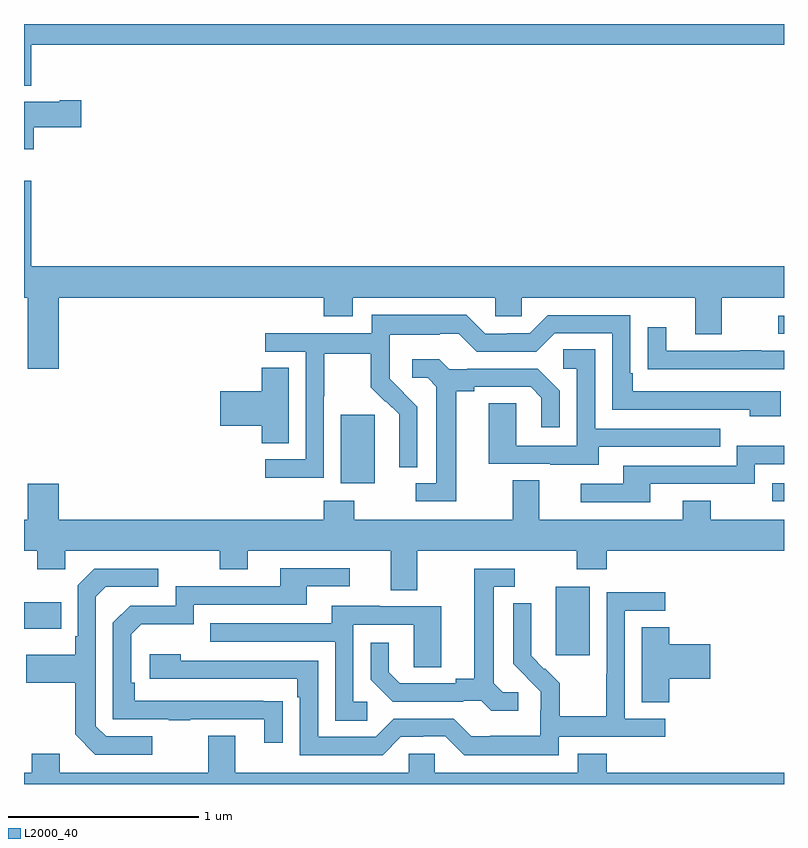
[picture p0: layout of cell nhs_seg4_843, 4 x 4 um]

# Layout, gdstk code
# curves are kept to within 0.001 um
import gdstk
lib = gdstk.Library(unit=1e-6, precision=1e-09)
def R(c, l, rs):  # rectangles x0, y0, x1, y1
    for r in rs: c.add(gdstk.rectangle(r[:2], r[2:], *l))
def P(c, l, *ps):  # polygons
    for p in ps: c.add(gdstk.Polygon(p, *l))
L2000_40 = (2000, 40)

nhs_seg4_843 = lib.new_cell('nhs_seg4_843')
R(nhs_seg4_843, L2000_40, [(155.798,821.577,155.977,821.938), (153,821.717,153.197,821.857), (156.939,822.387,157,822.483), (154.667,822.482,154.846,822.843), (156.969,823.269,157,823.365)])
P(nhs_seg4_843, L2000_40, [(153.037,824.792),(157,824.792),(157,824.9),(153,824.9),(153,824.576),(153.037,824.576)],
  [(153.052,824.357),(153.301,824.357),(153.301,824.499),(153.188,824.499),(153.188,824.491),(153,824.491),(153,824.24),(153.052,824.24)],
  [(153.184,823.46),(154.577,823.46),(154.577,823.361),(154.729,823.361),(154.729,823.46),(155.481,823.46),(155.481,823.362),(155.619,823.362),(155.619,823.46),(156.533,823.46),(156.533,823.266),(156.673,823.266),(156.673,823.46),(157,823.46),(157,823.624),(153.037,823.624),(153.037,824.074),(153,824.074),(153,823.46),(153.02,823.46),(153.02,823.086),(153.184,823.086)],
  [(154.578,822.94),(154.581,822.94),(154.581,823.164),(154.825,823.164),(154.825,822.989),(154.902,822.912),(154.905,822.915),(154.976,822.845),(154.976,822.722),(154.974,822.722),(154.974,822.568),(155.07,822.568),(155.07,822.886),(154.924,823.034),(154.924,823.131),(154.926,823.131),(154.926,823.265),(155.189,823.265),(155.189,823.269),(155.289,823.269),(155.382,823.176),(155.697,823.176),(155.793,823.272),(156.096,823.272),(156.096,822.87),(156.821,822.87),(156.821,822.836),(156.982,822.836),(156.982,822.966),(156.205,822.966),(156.205,823.063),(156.192,823.063),(156.192,823.368),(155.757,823.368),(155.661,823.272),(155.543,823.272),(155.543,823.269),(155.427,823.269),(155.327,823.369),(154.83,823.369),(154.83,823.272),(154.269,823.272),(154.269,823.176),(154.482,823.176),(154.482,822.609),(154.269,822.609),(154.269,822.511),(154.578,822.511)],
  [(157,823.179),(156.881,823.179),(156.881,823.184),(156.769,823.184),(156.769,823.179),(156.379,823.179),(156.379,823.303),(156.283,823.303),(156.283,823.084),(156.385,823.084),(156.385,823.083),(157,823.083)],
  [(156.025,822.675),(156.665,822.675),(156.665,822.771),(156.006,822.771),(156.006,823.187),(155.838,823.187),(155.838,823.086),(155.91,823.086),(155.91,822.681),(155.592,822.681),(155.592,822.905),(155.447,822.905),(155.447,822.585),(155.771,822.585),(155.771,822.581),(156.025,822.581)],
  [(155.275,822.968),(155.371,822.968),(155.371,822.99),(155.666,822.99),(155.723,822.933),(155.723,822.777),(155.82,822.777),(155.82,822.97),(155.704,823.086),(155.332,823.086),(155.332,823.083),(155.238,823.083),(155.186,823.135),(155.043,823.135),(155.043,823.038),(155.124,823.038),(155.171,822.991),(155.171,822.483),(155.061,822.483),(155.061,822.387),(155.275,822.387)],
  [(154.393,823.091),(154.25,823.091),(154.25,822.968),(154.032,822.968),(154.032,822.785),(154.25,822.785),(154.25,822.694),(154.393,822.694)],
  [(156.295,822.48),(156.846,822.48),(156.846,822.582),(157,822.582),(157,822.679),(156.75,822.679),(156.75,822.576),(156.155,822.576),(156.155,822.48),(155.931,822.48),(155.931,822.384),(156.295,822.384)],
  [(155.071,822.128),(155.908,822.128),(155.908,822.029),(156.068,822.029),(156.068,822.128),(157,822.128),(157,822.292),(156.615,822.292),(156.615,822.391),(156.467,822.391),(156.467,822.292),(155.713,822.292),(155.713,822.5),(155.573,822.5),(155.573,822.292),(154.737,822.292),(154.737,822.391),(154.577,822.391),(154.577,822.292),(153.184,822.292),(153.184,822.481),(153.02,822.481),(153.02,822.292),(153,822.292),(153,822.128),(153.07,822.128),(153.07,822.029),(153.216,822.029),(153.216,822.128),(154.03,822.128),(154.03,822.029),(154.177,822.029),(154.177,822.128),(154.931,822.128),(154.931,821.92),(155.071,821.92)],
  [(154.361,821.336),(153.584,821.337),(153.584,821.434),(153.564,821.434),(153.564,821.688),(153.617,821.741),(153.894,821.741),(153.894,821.844),(154.489,821.844),(154.489,821.94),(154.714,821.94),(154.714,822.036),(154.349,822.036),(154.349,821.94),(153.798,821.94),(153.798,821.838),(153.558,821.838),(153.468,821.748),(153.468,821.241),(153.763,821.241),(153.763,821.236),(153.875,821.236),(153.875,821.241),(154.265,821.241),(154.265,821.118),(154.361,821.118)],
  [(153.676,821.151),(153.432,821.151),(153.378,821.205),(153.378,821.886),(153.429,821.937),(153.706,821.937),(153.706,822.033),(153.369,822.033),(153.282,821.946),(153.282,821.677),(153.27,821.677),(153.27,821.581),(153.013,821.581),(153.013,821.434),(153.27,821.434),(153.27,821.161),(153.375,821.055),(153.676,821.055)],
  [(155.602,821.382),(155.52,821.382),(155.473,821.429),(155.473,821.937),(155.584,821.937),(155.584,822.033),(155.369,822.033),(155.369,821.453),(155.273,821.453),(155.273,821.43),(154.978,821.43),(154.921,821.487),(154.921,821.644),(154.824,821.644),(154.824,821.45),(154.94,821.334),(155.312,821.334),(155.312,821.337),(155.406,821.337),(155.458,821.285),(155.602,821.285)],
  [(155.814,821.148),(156.376,821.148),(156.376,821.244),(156.162,821.244),(156.162,821.811),(156.376,821.811),(156.376,821.91),(156.066,821.91),(156.066,821.48),(156.064,821.48),(156.064,821.257),(155.819,821.257),(155.819,821.431),(155.742,821.508),(155.739,821.505),(155.669,821.576),(155.67,821.852),(155.574,821.852),(155.574,821.534),(155.72,821.386),(155.72,821.289),(155.718,821.289),(155.718,821.155),(155.455,821.155),(155.455,821.151),(155.355,821.151),(155.262,821.244),(154.947,821.244),(154.851,821.148),(154.548,821.148),(154.548,821.55),(153.824,821.55),(153.824,821.584),(153.663,821.584),(153.663,821.454),(154.439,821.454),(154.439,821.357),(154.452,821.357),(154.452,821.052),(154.887,821.052),(154.983,821.148),(155.102,821.148),(155.102,821.151),(155.217,821.151),(155.317,821.051),(155.814,821.051)],
  [(154.807,821.334),(154.734,821.334),(154.734,821.739),(155.052,821.739),(155.052,821.515),(155.197,821.515),(155.197,821.835),(154.873,821.835),(154.873,821.839),(154.619,821.839),(154.619,821.745),(153.979,821.745),(153.979,821.649),(154.638,821.649),(154.638,821.233),(154.807,821.233)],
  [(156.395,821.453),(156.613,821.453),(156.613,821.636),(156.395,821.636),(156.395,821.726),(156.251,821.726),(156.251,821.329),(156.395,821.329)],
  [(157,820.96),(156.068,820.96),(156.068,821.059),(155.915,821.059),(155.915,820.96),(155.163,820.96),(155.163,821.058),(155.025,821.058),(155.025,820.96),(154.111,820.96),(154.111,821.155),(153.971,821.155),(153.971,820.96),(153.187,820.96),(153.187,821.059),(153.04,821.059),(153.04,820.96),(153,820.96),(153,820.9),(157,820.9)])

lib.write_gds('nhs_seg4_843.gds')
